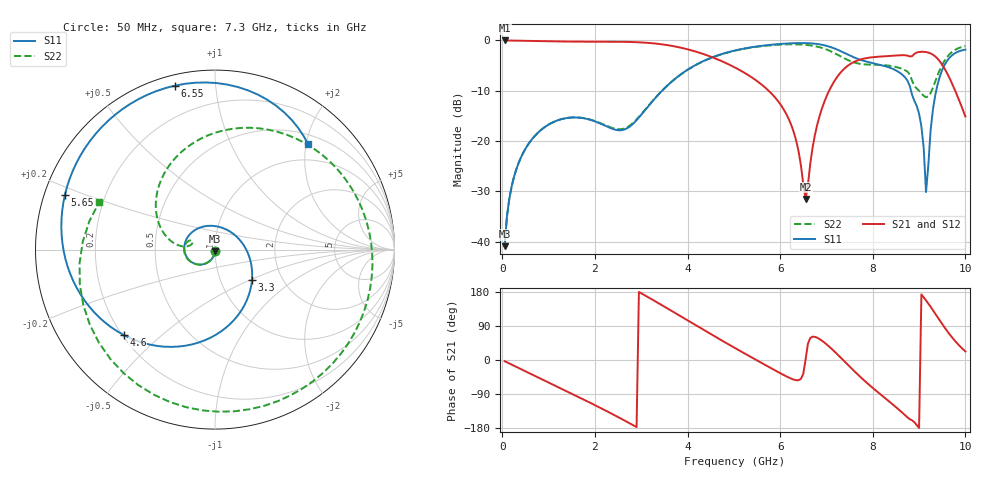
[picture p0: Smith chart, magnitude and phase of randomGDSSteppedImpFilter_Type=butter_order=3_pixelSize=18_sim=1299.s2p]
! freq	dB(S11)	phase(S11)	dB(S12)	phase(S12)
!  dB(S21)	phase(S21)	dB(S22)	phase(S22)
!S-par simulation data
#  GHz  S  DB  R 50
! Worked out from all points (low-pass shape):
!   200 points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, 50 MHz to 10 GHz, reference 50 ohm
!   highest |S21| = -0.01 dB at 50 MHz (marker M1); lowest = -31.5 dB at 6.55 GHz (marker M2)
!   |S21| within 3 dB of the highest: start of sweep to 4.435 GHz; 8.862 GHz to 9.323 GHz (461.1 MHz wide, 5.07 % of centre) (the widest 2 of 3)
!   lowest |S11| = -40.9 dB at 50 MHz (marker M3), VSWR 1.02, Z = 50 - j0.9 ohm
!   |S11| at or under -10 dB: start of sweep to 3.45 GHz; 8.826 GHz to 9.37 GHz (544.1 MHz wide, 5.98 % of centre)
!   |S22| runs from -40.9 to -0.8 dB; largest |S21 - S12| = 0
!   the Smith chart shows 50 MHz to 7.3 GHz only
!   S11 on the Smith chart (normalised r, x): 50 MHz: 1.00, -0.02; 3.3 GHz: 1.41, -0.51; 4.6 GHz: 0.21, -0.38; 5.65 GHz: 0.06, +0.18; 6.55 GHz: 0.05, +0.79; 7.3 GHz: 0.66, +2.03
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0.05  -40.90 -91.9  -0.01 -3.0  -0.01 -3.0  -40.90 -91.8
0.2  -29.11 -101.7  -0.03 -12.0  -0.03 -12.0  -29.12 -101.9
0.5  -21.54 -120.1  -0.07 -29.9  -0.07 -29.9  -21.54 -120.5
1.75  -15.46 158.7  -0.25 -103.9  -0.25 -103.9  -15.43 172.1
2.6  -17.80 58.2  -0.27 -157.1  -0.27 -157.1  -17.59 165.7
3.3  -11.49 -39.4  -0.62 155.1  -0.62 155.1  -11.44 166.7
3.4  -10.48 -49.0  -0.72 148.0  -0.72 148.0  -10.45 162.2
4  -5.84 -96.9  -1.76 104.6  -1.76 104.6  -5.86 123.8
4.6  -3.14 -137.0  -3.59 61.4  -3.59 61.4  -3.17 77.7
5.05  -1.94 -164.6  -5.51 29.8  -5.51 29.8  -1.99 42.1
5.65  -1.01 160.0  -9.16 -11.2  -9.16 -11.2  -1.09 -5.8
6.25  -0.56 123.5  -17.07 -49.8  -17.07 -49.8  -0.77 -57.8
6.55  -0.53 103.6  -31.51 2.1  -31.51 2.1  -0.88 -88.7
6.7  -0.61 93.0  -21.33 61.5  -21.33 61.5  -1.06 -106.5
7.3  -2.11 48.7  -6.45 7.2  -6.45 7.2  -3.13 157.6
7.7  -3.75 24.2  -3.88 -41.1  -3.88 -41.1  -4.61 79.4
8.35  -5.36 -20.9  -3.09 -109.1  -3.09 -109.1  -5.01 -9.0
8.95  -13.03 -82.3  -2.41 -171.8  -2.41 -171.8  -9.56 -49.6
9.15  -30.15 -65.0  -2.31 157.3  -2.31 157.3  -11.29 -34.9
9.4  -8.74 5.8  -3.64 112.9  -3.64 112.9  -6.92 -12.8
9.65  -3.51 -43.1  -7.35 69.1  -7.35 69.1  -2.81 -29.9
10  -1.83 -101.9  -15.13 22.6  -15.13 22.6  -1.13 -57.4
